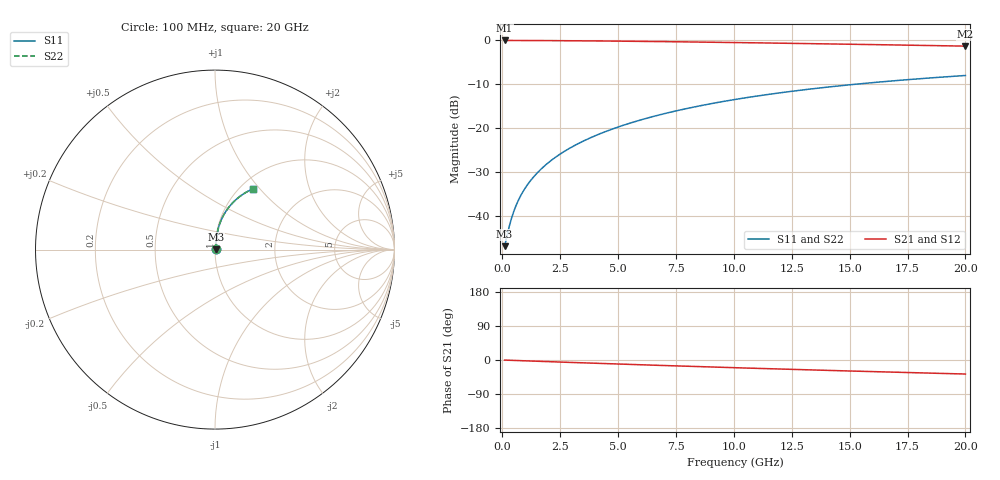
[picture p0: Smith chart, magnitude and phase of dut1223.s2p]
! Touchstone file exported from HFSS 2024.1.0
!  File:  C:/UserFiles/LocalFiles/RDL_TSV_Batchsim/temp_RDL_bottom_1223_1780244195.aedt
!  Generated:  12:19:16 AM Jun  1, 2026
!  Design:  RDL_bottom
!  Project:  temp_RDL_bottom_1223_1780244195
!  Setup:  Setup1
!  Solution:  Sweep
! Variables:
!  dtsv = 10.80580581um
!  hbump = 3um
!  htsv = 69.91um
!  ldown = 451.24um
!  lrdl = 100um
!  p = 40
!  p1 = 57.88um
!  rhole = 1um
!  t = 450um
!  tdown = 2.11um
!  trdl = 3.915915916um
!  wdown = 20.21um
!  wrdl = 20um
# GHz S MA R 50.000000
! Terminal data exported
! Port[1] = RDL1_T1
! Port[2] = RDL1_T2
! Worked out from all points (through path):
!   200 points, 100 MHz to 20 GHz, reference 50 ohm
!   highest |S21| = -0.04 dB at 100 MHz (marker M1); lowest = -1.3 dB at 20 GHz (marker M2)
!   group delay of S21, straight-line fit = 5.12 ps
!   lowest |S11| = -46.7 dB at 100 MHz (marker M3), VSWR 1.01, Z = 50.4 + j0.218 ohm
!   |S11| at or under -10 dB: start of sweep to 15.21 GHz
!   |S22| runs from -46.7 to -8.0 dB; largest |S21 - S12| = 4.3e-15
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0.1  0.0046 28.1  0.9959 -0.2  0.9959 -0.2  0.0046 28.1
! Gamma 0 0 0 0
! Port Impedance 50 0 50 0
0.3  0.0077 56.6  0.9957 -0.7  0.9957 -0.7  0.0077 56.6
0.4  0.009569 62.8  0.9956 -0.9  0.9956 -0.9  0.009569 62.8
0.5  0.01149 66.9  0.9954 -1.1  0.9954 -1.1  0.01149 66.9
0.6  0.01343 69.8  0.9952 -1.3  0.9952 -1.3  0.01343 69.8
0.7  0.01537 71.9  0.995 -1.6  0.995 -1.6  0.01537 71.9
0.9  0.01926 74.9  0.9946 -2.0  0.9946 -2.0  0.01926 74.9
1.2  0.02513 77.7  0.994 -2.6  0.994 -2.6  0.02513 77.7
1.4  0.02907 78.9  0.9935 -3.1  0.9935 -3.1  0.02907 78.9
1.7  0.03502 80.2  0.9928 -3.7  0.9928 -3.7  0.03502 80.2
2.2  0.04506 81.5  0.9914 -4.8  0.9914 -4.8  0.04506 81.5
2.8  0.05729 82.3  0.9893 -6.1  0.9893 -6.1  0.05729 82.3
3.5  0.07179 82.5  0.9864 -7.5  0.9864 -7.5  0.07179 82.5
4.2  0.08652 82.4  0.983 -9.0  0.983 -9.0  0.08652 82.4
5  0.1036 81.8  0.9786 -10.6  0.9786 -10.6  0.1036 81.8
5.9  0.123 81.0  0.9732 -12.4  0.9732 -12.4  0.123 81.0
6.8  0.1426 79.8  0.9673 -14.2  0.9673 -14.2  0.1426 79.8
8.4  0.1775 77.5  0.9559 -17.3  0.9559 -17.3  0.1775 77.5
10.1  0.214 74.7  0.943 -20.4  0.943 -20.4  0.214 74.7
13.4  0.2816 69.0  0.9162 -26.3  0.9162 -26.3  0.2816 69.0
16.7  0.3434 63.4  0.8878 -31.8  0.8878 -31.8  0.3434 63.4
20  0.3985 58.1  0.8589 -37.0  0.8589 -37.0  0.3985 58.1
